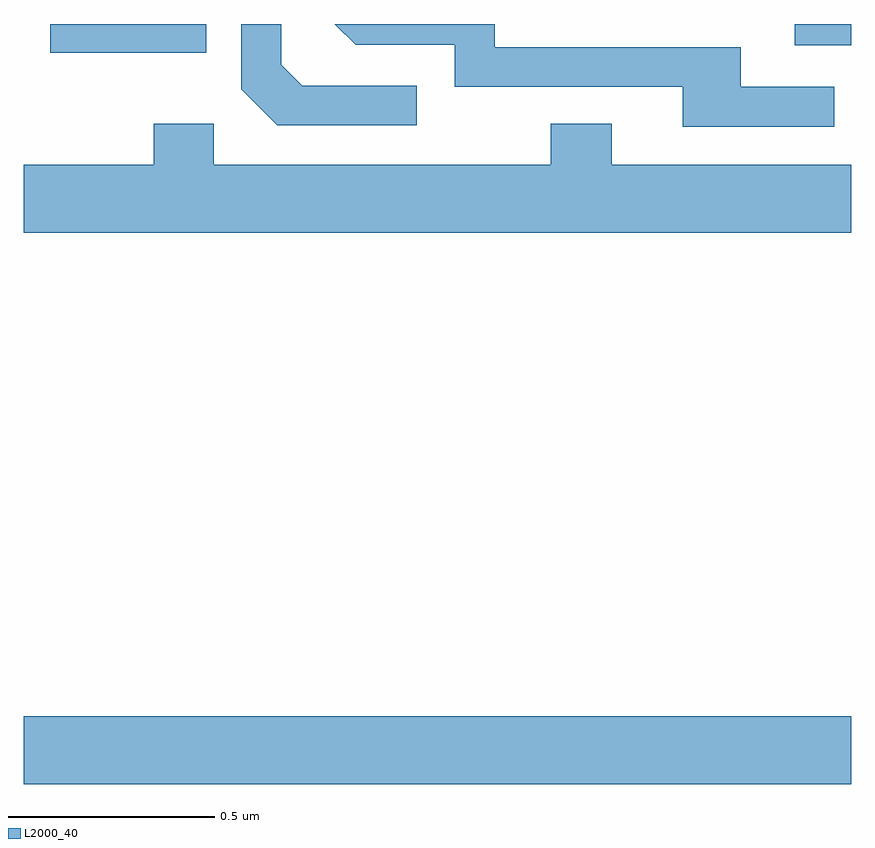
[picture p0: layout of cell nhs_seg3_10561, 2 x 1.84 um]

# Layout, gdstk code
import gdstk
lib = gdstk.Library(unit=1e-6, precision=1e-09)
def R(c, l, rs):  # rectangles x0, y0, x1, y1
    for r in rs: c.add(gdstk.rectangle(r[:2], r[2:], *l))
def P(c, l, *ps):  # polygons
    for p in ps: c.add(gdstk.Polygon(p, *l))
L2000_40 = (2000, 40)

nhs_seg3_10561 = lib.new_cell('nhs_seg3_10561')
R(nhs_seg3_10561, L2000_40, [(242,719.564,244,719.728), (242.064,721.331,242.441,721.4), (243.863,721.349,244,721.4)])
P(nhs_seg3_10561, L2000_40, [(242.95,721.251),(242.673,721.251),(242.622,721.302),(242.622,721.4),(242.526,721.4),(242.526,721.242),(242.613,721.155),(242.95,721.155)],
  [(243.958,721.248),(243.733,721.248),(243.733,721.344),(243.138,721.344),(243.138,721.4),(242.752,721.4),(242.802,721.35),(243.042,721.35),(243.042,721.248),(243.593,721.248),(243.593,721.152),(243.958,721.152)],
  [(244,721.06),(243.421,721.06),(243.421,721.159),(243.274,721.159),(243.274,721.06),(242.46,721.06),(242.46,721.159),(242.314,721.159),(242.314,721.06),(242,721.06),(242,720.896),(244,720.896)])

lib.write_gds('nhs_seg3_10561.gds')
